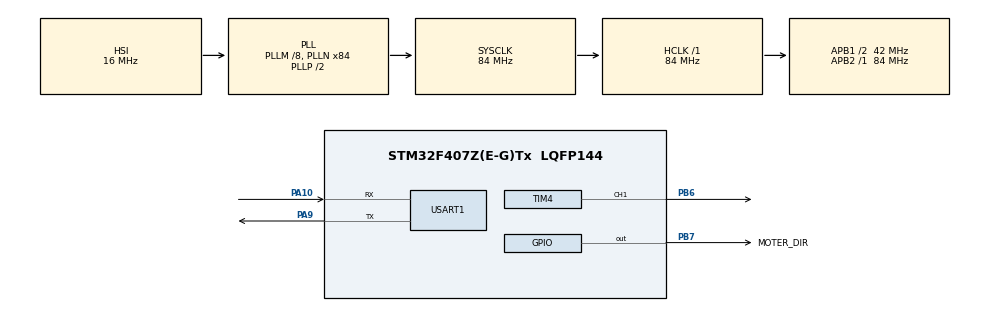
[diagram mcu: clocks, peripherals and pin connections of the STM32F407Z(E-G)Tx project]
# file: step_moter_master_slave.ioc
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Mcu.Family=STM32F4
Mcu.Name=STM32F407Z(E-G)Tx
Mcu.Package=LQFP144
NVIC.PriorityGroup=NVIC_PRIORITYGROUP_4
NVIC.TIM3_IRQn=true\:0\:0\:false\:false\:true\:true\:true\:true
NVIC.TIM6_DAC_IRQn=true\:0\:0\:false\:false\:true\:true\:true\:true
PA10.Mode=Asynchronous
PA10.Signal=USART1_RX
PA13.Mode=Serial_Wire
PA13.Signal=SYS_JTMS-SWDIO
PA14.Mode=Serial_Wire
PA14.Signal=SYS_JTCK-SWCLK
PA9.Mode=Asynchronous
PA9.Signal=USART1_TX
PB6.Signal=S_TIM4_CH1
PB7.GPIO_Label=MOTER_DIR
PB7.Signal=GPIO_Output
PH0-OSC_IN.Mode=HSE-External-Oscillator
PH0-OSC_IN.Signal=RCC_OSC_IN
PH1-OSC_OUT.Mode=HSE-External-Oscillator
PH1-OSC_OUT.Signal=RCC_OSC_OUT
ProjectManager.HeapSize=0x200
ProjectManager.StackSize=0x400
ProjectManager.TargetToolchain=MDK-ARM V5.32
RCC.48MHZClocksFreq_Value=42000000
RCC.AHBFreq_Value=84000000
RCC.APB1CLKDivider=RCC_HCLK_DIV2
RCC.APB1Freq_Value=42000000
RCC.APB1TimFreq_Value=84000000
RCC.APB2Freq_Value=84000000
RCC.APB2TimFreq_Value=84000000
RCC.CortexFreq_Value=84000000
RCC.HCLKFreq_Value=84000000
RCC.HSE_VALUE=25000000
RCC.HSI_VALUE=16000000
RCC.LSE_VALUE=32768
RCC.PLLM=8
RCC.PLLN=84
RCC.SYSCLKFreq_VALUE=84000000
RCC.SYSCLKSource=RCC_SYSCLKSOURCE_PLLCLK
RCC.VCOOutputFreq_Value=168000000
SH.S_TIM4_CH1.0=TIM4_CH1,PWM Generation1 CH1
TIM3.Period=3199
TIM4.AutoReloadPreload=TIM_AUTORELOAD_PRELOAD_ENABLE
TIM4.Channel-PWM\ Generation1\ CH1=TIM_CHANNEL_1
TIM4.Period=1999
TIM4.Prescaler=83
TIM4.Pulse-PWM\ Generation1\ CH1=1000
TIM4.TIM_MasterOutputTrigger=TIM_TRGO_UPDATE
TIM4.TIM_MasterSlaveMode=TIM_MASTERSLAVEMODE_ENABLE
TIM6.Period=999
TIM6.Prescaler=83
USART1.VirtualMode=VM_ASYNC
VP_TIM3_VS_ClockSourceITR.Mode=TriggerSource_ITR3
VP_TIM3_VS_ControllerModeClock.Mode=Clock Mode
VP_TIM6_VS_ClockSourceINT.Mode=Enable_Timer
board=custom

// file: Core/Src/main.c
/* USER CODE BEGIN Header */
/**
  ******************************************************************************
  * @file           : main.c
  * @brief          : Main program body
  ******************************************************************************
  * @attention
  *
  * Copyright (c) 2026 STMicroelectronics.
  * All rights reserved.
  *
  * This software is licensed under terms that can be found in the LICENSE file
  * in the root directory of this software component.
  * If no LICENSE file comes with this software, it is provided AS-IS.
  *
  ******************************************************************************
  */
/* USER CODE END Header */
#include "main.h"
#include "tim.h"
#include "usart.h"
#include "gpio.h"

void SystemClock_Config(void);

/* USER CODE BEGIN 0 */
int target_steps = 3200;      // 总共要走的步数
int current_step = 0;         // 已经走了的步数 (注意：昨天我们是倒着减，今天为了分段，我们正着加)

int accel_steps = 800;        // 用多少步来加速
int decel_steps = 800;        // 用多少步来减速

uint16_t arr_current = 2000;  // 起步时的 ARR (很大，意味着起步很慢)
uint16_t arr_min = 500;       // 巡航时的最小 ARR (速度最快)
uint16_t arr_step = 2;        // 每次进入中断，ARR 改变的步长 (比如每次减2

int is_motor_running = 0;  // 电机运行标志位：0代表停止，1代表正在运行
#define TABLE_LEN 800
const uint16_t S_Curve_Table[800] = {
    1990, 1990, 1990, 1990, 1989, 1989, 1989, 1989, 1989, 1989,
    1989, 1988, 1988, 1988, 1988, 1988, 1988, 1988, 1987, 1987,
    1987, 1987, 1987, 1987, 1986, 1986, 1986, 1986, 1986, 1986,
    1985, 1985, 1985, 1985, 1985, 1984, 1984, 1984, 1984, 1984,
    1984, 1983, 1983, 1983, 1983, 1982, 1982, 1982, 1982, 1982,
    1981, 1981, 1981, 1981, 1980, 1980, 1980, 1980, 1979, 1979,
    1979, 1979, 1978, 1978, 1978, 1978, 1977, 1977, 1977, 1976,
    1976, 1976, 1976, 1975, 1975, 1975, 1974, 1974, 1974, 1973,
    1973, 1973, 1972, 1972, 1972, 1971, 1971, 1971, 1970, 1970,
    1969, 1969, 1969, 1968, 1968, 1968, 1967, 1967, 1966, 1966,
    1965, 1965, 1965, 1964, 1964, 1963, 1963, 1962, 1962, 1961,
    1961, 1961, 1960, 1960, 1959, 1959, 1958, 1958, 1957, 1956,
    1956, 1955, 1955, 1954, 1954, 1953, 1953, 1952, 1951, 1951,
    1950, 1950, 1949, 1948, 1948, 1947, 1947, 1946, 1945, 1945,
    1944, 1943, 1943, 1942, 1941, 1940, 1940, 1939, 1938, 1937,
    1937, 1936, 1935, 1934, 1934, 1933, 1932, 1931, 1930, 1930,
    1929, 1928, 1927, 1926, 1925, 1924, 1923, 1922, 1922, 1921,
    1920, 1919, 1918, 1917, 1916, 1915, 1914, 1913, 1912, 1911,
    1910, 1909, 1907, 1906, 1905, 1904, 1903, 1902, 1901, 1900,
    1898, 1897, 1896, 1895, 1894, 1892, 1891, 1890, 1888, 1887,
    1886, 1885, 1883, 1882, 1880, 1879, 1878, 1876, 1875, 1873,
    1872, 1870, 1869, 1868, 1866, 1864, 1863, 1861, 1860, 1858,
    1857, 1855, 1853, 1852, 1850, 1848, 1846, 1845, 1843, 1841,
    1839, 1838, 1836, 1834, 1832, 1830, 1828, 1826, 1825, 1823,
    1821, 1819, 1817, 1815, 1813, 1810, 1808, 1806, 1804, 1802,
    1800, 1798, 1795, 1793, 1791, 1789, 1786, 1784, 1782, 1780,
    1777, 1775, 1772, 1770, 1767, 1765, 1763, 1760, 1757, 1755,
    1752, 1750, 1747, 1744, 1742, 1739, 1736, 1734, 1731, 1728,
    1725, 1723, 1720, 1717, 1714, 1711, 1708, 1705, 1702, 1699,
    1696, 1693, 1690, 1687, 1684, 1681, 1678, 1674, 1671, 1668,
    1665, 1661, 1658, 1655, 1652, 1648, 1645, 1641, 1638, 1634,
    1631, 1628, 1624, 1620, 1617, 1613, 1610, 1606, 1602, 1599,
    1595, 1591, 1588, 1584, 1580, 1576, 1573, 1569, 1565, 1561,
    1557, 1553, 1549, 1545, 1541, 1537, 1533, 1529, 1525, 1521,
    1517, 1513, 1509, 1505, 1500, 1496, 1492, 1488, 1484, 1479,
    1475, 1471, 1467, 1462, 1458, 1454, 1449, 1445, 1441, 1436,
    1432, 1427, 1423, 1418, 1414, 1409, 1405, 1400, 1396, 1391,
    1387, 1382, 1378, 1373, 1369, 1364, 1360, 1355, 1350, 1346,
    1341, 1336, 1332, 1327, 1323, 1318, 1313, 1309, 1304, 1299,
    1295, 1290, 1285, 1280, 1276, 1271, 1266, 1262, 1257, 1252,
    1248, 1243, 1238, 1234, 1229, 1224, 1220, 1215, 1210, 1205,
    1201, 1196, 1191, 1187, 1182, 1177, 1173, 1168, 1164, 1159,
    1154, 1150, 1145, 1140, 1136, 1131, 1127, 1122, 1118, 1113,
    1109, 1104, 1100, 1095, 1091, 1086, 1082, 1077, 1073, 1068,
    1064, 1059, 1055, 1051, 1046, 1042, 1038, 1033, 1029, 1025,
    1021, 1016, 1012, 1008, 1004, 1000, 995, 991, 987, 983,
    979, 975, 971, 967, 963, 959, 955, 951, 947, 943,
    939, 935, 931, 927, 924, 920, 916, 912, 909, 905,
    901, 898, 894, 890, 887, 883, 880, 876, 872, 869,
    866, 862, 859, 855, 852, 848, 845, 842, 839, 835,
    832, 829, 826, 822, 819, 816, 813, 810, 807, 804,
    801, 798, 795, 792, 789, 786, 783, 780, 777, 775,
    772, 769, 766, 764, 761, 758, 756, 753, 750, 748,
    745, 743, 740, 737, 735, 733, 730, 728, 725, 723,
    720, 718, 716, 714, 711, 709, 707, 705, 702, 700,
    698, 696, 694, 692, 690, 687, 685, 683, 681, 679,
    677, 675, 674, 672, 670, 668, 666, 664, 662, 661,
    659, 657, 655, 654, 652, 650, 648, 647, 645, 643,
    642, 640, 639, 637, 636, 634, 632, 631, 630, 628,
    627, 625, 624, 622, 621, 620, 618, 617, 615, 614,
    613, 612, 610, 609, 608, 606, 605, 604, 603, 602,
    600, 599, 598, 597, 596, 595, 594, 593, 591, 590,
    589, 588, 587, 586, 585, 584, 583, 582, 581, 580,
    579, 578, 578, 577, 576, 575, 574, 573, 572, 571,
    570, 570, 569, 568, 567, 566, 566, 565, 564, 563,
    563, 562, 561, 560, 560, 559, 558, 557, 557, 556,
    555, 555, 554, 553, 553, 552, 552, 551, 550, 550,
    549, 549, 548, 547, 547, 546, 546, 545, 545, 544,
    544, 543, 542, 542, 541, 541, 540, 540, 539, 539,
    539, 538, 538, 537, 537, 536, 536, 535, 535, 535,
    534, 534, 533, 533, 532, 532, 532, 531, 531, 531,
    530, 530, 529, 529, 529, 528, 528, 528, 527, 527,
    527, 526, 526, 526, 525, 525, 525, 524, 524, 524,
    524, 523, 523, 523, 522, 522, 522, 522, 521, 521,
    521, 521, 520, 520, 520, 520, 519, 519, 519, 519,
    518, 518, 518, 518, 518, 517, 517, 517, 517, 516,
    516, 516, 516, 516, 516, 515, 515, 515, 515, 515,
    514, 514, 514, 514, 514, 514, 513, 513, 513, 513,
    513, 513, 512, 512, 512, 512, 512, 512, 512, 511,
    511, 511, 511, 511, 511, 511, 510, 510, 510, 510,
};

// 2. 新增一个“时间计步器”，用来记录加速区过了多少毫秒
int time_tick =0;

void Profile_Check(int target, int expected_accel, int expected_decel)
{
    if (target < (expected_accel + expected_decel))
    {
        accel_steps = target / 2;
        decel_steps = accel_steps;
    }
    else
    {
        accel_steps = expected_accel;
        decel_steps = expected_decel;
    }
}
void Moter_Start(void)
   {
   Profile_Check(target_steps, 800, 800);

    // 1. 设置从定时器 (TIM3) 的目标步数 (3200步)

    __HAL_TIM_SET_AUTORELOAD(&htim3, target_steps - 1);

    // 2. 清空 TIM3 的当前计数值，确保从 0 开始数
    __HAL_TIM_SET_COUNTER(&htim3, 0);

    // 3.重置起步速度
    //arr_current = 2000;

     time_tick =0;
     arr_current = S_Curve_Table[0]; // 起步速度直接查字典的第 0 页

    // 4. 设置主定时器 (TIM4) 的初始速度和占空比 (起步速度)
    __HAL_TIM_SET_AUTORELOAD(&htim4, arr_current);
    __HAL_TIM_SET_COMPARE(&htim4, TIM_CHANNEL_1, arr_current / 2);

      // 5.标志位点亮
    is_motor_running = 1;

    //6. 开启中断
    HAL_TIM_Base_Start_IT(&htim3);

    HAL_TIM_PWM_Start(&htim4, TIM_CHANNEL_1);

    HAL_TIM_Base_Start_IT(&htim6);
}
/* USER CODE END 0 */

int main(void)
{

  /* MCU Configuration--------------------------------------------------------*/

  /* Reset of all peripherals, Initializes the Flash interface and the Systick. */
  HAL_Init();

  /* Configure the system clock */
  SystemClock_Config();

  /* Initialize all configured peripherals */
  MX_GPIO_Init();
  MX_TIM3_Init();
  MX_TIM4_Init();
  MX_USART1_UART_Init();
  MX_TIM6_Init();

  /* Infinite loop */
  while (1)
  {

    /* USER CODE BEGIN 3 */
      Moter_Start();
      HAL_Delay(8000);
  }
  /* USER CODE END 3 */
}

void SystemClock_Config(void)
{
  RCC_OscInitTypeDef RCC_OscInitStruct = {0};
  RCC_ClkInitTypeDef RCC_ClkInitStruct = {0};

  /** Configure the main internal regulator output voltage
  */
  __HAL_RCC_PWR_CLK_ENABLE();
  __HAL_PWR_VOLTAGESCALING_CONFIG(PWR_REGULATOR_VOLTAGE_SCALE1);

  /** Initializes the RCC Oscillators according to the specified parameters
  * in the RCC_OscInitTypeDef structure.
  */
  RCC_OscInitStruct.OscillatorType = RCC_OSCILLATORTYPE_HSI;
  RCC_OscInitStruct.HSIState = RCC_HSI_ON;
  RCC_OscInitStruct.HSICalibrationValue = RCC_HSICALIBRATION_DEFAULT;
  RCC_OscInitStruct.PLL.PLLState = RCC_PLL_ON;
  RCC_OscInitStruct.PLL.PLLSource = RCC_PLLSOURCE_HSI;
  RCC_OscInitStruct.PLL.PLLM = 8;
  RCC_OscInitStruct.PLL.PLLN = 84;
  RCC_OscInitStruct.PLL.PLLP = RCC_PLLP_DIV2;
  RCC_OscInitStruct.PLL.PLLQ = 4;
  if (HAL_RCC_OscConfig(&RCC_OscInitStruct) != HAL_OK)
  {
    Error_Handler();
  }

  /** Initializes the CPU, AHB and APB buses clocks
  */
  RCC_ClkInitStruct.ClockType = RCC_CLOCKTYPE_HCLK|RCC_CLOCKTYPE_SYSCLK
                              |RCC_CLOCKTYPE_PCLK1|RCC_CLOCKTYPE_PCLK2;
  RCC_ClkInitStruct.SYSCLKSource = RCC_SYSCLKSOURCE_PLLCLK;
  RCC_ClkInitStruct.AHBCLKDivider = RCC_SYSCLK_DIV1;
  RCC_ClkInitStruct.APB1CLKDivider = RCC_HCLK_DIV2;
  RCC_ClkInitStruct.APB2CLKDivider = RCC_HCLK_DIV1;

  if (HAL_RCC_ClockConfig(&RCC_ClkInitStruct, FLASH_LATENCY_2) != HAL_OK)
  {
    Error_Handler();
  }
}

/* USER CODE BEGIN 4 */
// 当定时器的一个周期跑完（即 TIM3 数到了 ARR 的值）时，自动进入这里
void HAL_TIM_PeriodElapsedCallback(TIM_HandleTypeDef *htim)
{
    // 确认是 TIM3（计步器）发来的停火信号
    if (htim->Instance == TIM3)
    {
        // 停掉 TIM4 的 PWM
        HAL_TIM_PWM_Stop(&htim4, TIM_CHANNEL_1);
        //停掉 TIM6
        HAL_TIM_Base_Stop_IT(&htim6);
        // 停掉 TIM3 自己
        HAL_TIM_Base_Stop_IT(&htim3);

        // 标志位熄灭
        is_motor_running = 0;
    }
    else if(htim->Instance == TIM6)
    {
        // 标志位安检
        if (is_motor_running == 0) return;

        current_step =__HAL_TIM_GET_COUNTER(&htim3);

        if(current_step<=accel_steps)
        {
            if(time_tick<= (TABLE_LEN - 1))
            {arr_current = S_Curve_Table[time_tick];}
          //arr_current-=arr_step;

            time_tick +=1;
        __HAL_TIM_SET_AUTORELOAD(&htim4,arr_current);
        __HAL_TIM_SET_COMPARE(&htim4,TIM_CHANNEL_1,arr_current/2);
        }
                /* -------- 阶段 2：减速区 -------- */
        else if (current_step > (target_steps - decel_steps))
        {
            // 1. 算出距离终点还剩几步
            int remain_steps = target_steps - current_step;
            int index = remain_steps;
            //2. (防上限也防下限)
            if (index > TABLE_LEN - 1) index = TABLE_LEN - 1;
            if (index < 0) index = 0; // 绝对不能查负数！

            // 3. 翻字典赋值！(没有任何加减法！)
            arr_current = S_Curve_Table[index];

            // 4. 压入寄存器，保持 50% 占空比
            __HAL_TIM_SET_AUTORELOAD(&htim4, arr_current);
            __HAL_TIM_SET_COMPARE(&htim4, TIM_CHANNEL_1, arr_current / 2);
        }

    }
}

/* USER CODE END 4 */

void Error_Handler(void)
{
  __disable_irq();
  while (1)
  {
  }
}
